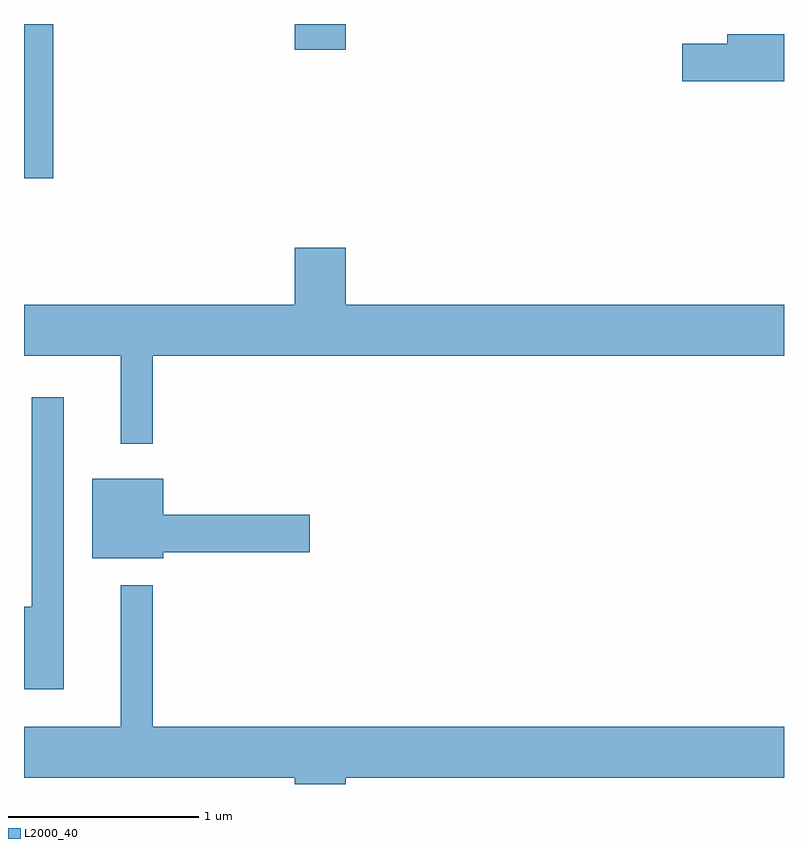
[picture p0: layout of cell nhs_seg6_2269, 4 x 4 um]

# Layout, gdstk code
import gdstk
lib = gdstk.Library(unit=1e-6, precision=1e-09)
def R(c, l, rs):  # rectangles x0, y0, x1, y1
    for r in rs: c.add(gdstk.rectangle(r[:2], r[2:], *l))
def P(c, l, *ps):  # polygons
    for p in ps: c.add(gdstk.Polygon(p, *l))
L2000_40 = (2000, 40)

nhs_seg6_2269 = lib.new_cell('nhs_seg6_2269')
R(nhs_seg6_2269, L2000_40, [(253.611,1615.351,253.764,1616.162), (255.036,1616.026,255.304,1616.162)])
P(nhs_seg6_2269, L2000_40, [(257.611,1616.109),(257.311,1616.109),(257.311,1616.059),(257.076,1616.059),(257.076,1615.861),(257.611,1615.861)],
  [(254.289,1614.416),(257.611,1614.416),(257.611,1614.684),(255.304,1614.684),(255.304,1614.984),(255.036,1614.984),(255.036,1614.684),(253.611,1614.684),(253.611,1614.416),(254.121,1614.416),(254.121,1613.953),(254.289,1613.953)],
  [(253.819,1614.198),(253.651,1614.198),(253.651,1613.094),(253.611,1613.094),(253.611,1612.661),(253.819,1612.661)],
  [(254.344,1613.381),(255.114,1613.381),(255.114,1613.579),(254.344,1613.579),(254.344,1613.769),(253.971,1613.769),(253.971,1613.351),(254.344,1613.351)],
  [(255.304,1612.196),(257.611,1612.196),(257.611,1612.464),(254.289,1612.464),(254.289,1613.208),(254.121,1613.208),(254.121,1612.464),(253.611,1612.464),(253.611,1612.196),(255.036,1612.196),(255.036,1612.162),(255.304,1612.162)])

lib.write_gds('nhs_seg6_2269.gds')
